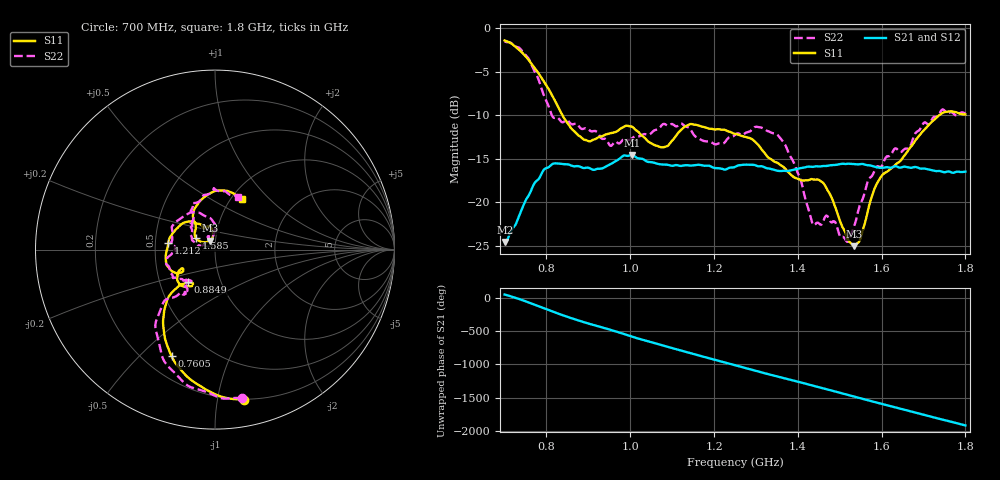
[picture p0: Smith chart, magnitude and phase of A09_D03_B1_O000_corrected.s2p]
! Created with skrf 1.9.0 (http://scikit-rf.org).
# Hz S RI R 50.0
!freq ReS11 ImS11 ReS21 ImS21 ReS12 ImS12 ReS22 ImS22
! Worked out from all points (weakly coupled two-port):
!   1601 points, 700 MHz to 1.8 GHz, reference 50 ohm
!   highest |S21| = -14.55 dB at 1.005 GHz (marker M1); lowest = -24.5 dB at 700.7 MHz (marker M2)
!   lowest |S11| = -25.0 dB at 1.535 GHz (marker M3), VSWR 1.12, Z = 47.2 + j4.66 ohm
!   |S11| at or under -10 dB: 838.1 MHz to 1.737 GHz (898.8 MHz wide, 69.8 % of centre)
!   |S22| runs from -24.5 to -1.5 dB; largest |S21 - S12| = 0.0035
!   S11 on the Smith chart (normalised r, x): 700 MHz: 0.20, -1.19; 760.5 MHz: 0.31, -0.63; 884.9 MHz: 0.70, -0.27; 1.212 GHz: 0.59, +0.05; 1.585 GHz: 0.80, +0.10; 1.8 GHz: 1.12, +0.70
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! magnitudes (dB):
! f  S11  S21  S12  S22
! 700 MHz  -1.4  -24.5  -24.3  -1.5
! 700.7 MHz  -1.4  -24.5  -24.2  -1.5
! 760.5 MHz  -3.9  -18.9  -18.8  -3.8
! 814.8 MHz  -7.8  -15.6  -15.6  -10.2
! 883.6 MHz  -12.6  -16.0  -15.9  -11.6
! 884.9 MHz  -12.6  -16.0  -15.9  -11.6
! 953 MHz  -12.0  -15.6  -15.6  -13.5
! 1.005 GHz  -11.3  -14.5  -14.7  -12.6
! 1.067 GHz  -13.6  -15.6  -15.5  -11.6
! 1.141 GHz  -11.0  -15.8  -15.7  -11.5
! 1.212 GHz  -11.6  -16.1  -16.1  -13.2
! 1.25 GHz  -12.1  -15.9  -15.8  -12.2
! 1.355 GHz  -15.6  -16.4  -16.3  -12.4
! 1.403 GHz  -17.3  -16.1  -16.1  -16.9
! 1.434 GHz  -17.3  -15.9  -15.9  -22.3
! 1.466 GHz  -18.1  -15.8  -15.8  -21.6
! 1.517 GHz  -24.0  -15.6  -15.6  -24.5
! 1.535 GHz  -25.0  -15.6  -15.6  -22.7
! 1.585 GHz  -18.2  -15.9  -15.9  -16.1
! 1.617 GHz  -16.3  -16.0  -16.0  -14.7
! 1.739 GHz  -9.9  -16.4  -16.4  -9.7
! 1.8 GHz  -9.9  -16.5  -16.5  -9.8
